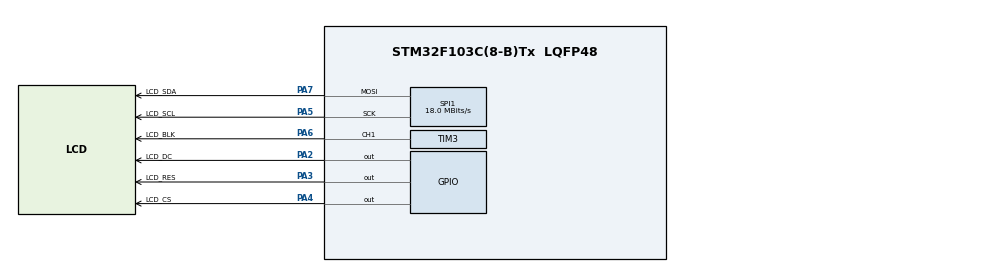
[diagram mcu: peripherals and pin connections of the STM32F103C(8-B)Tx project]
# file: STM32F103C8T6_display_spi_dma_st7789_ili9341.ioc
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Dma.Request0=SPI1_TX
Dma.SPI1_TX.0.Direction=DMA_MEMORY_TO_PERIPH
Dma.SPI1_TX.0.Instance=DMA1_Channel3
Dma.SPI1_TX.0.MemDataAlignment=DMA_MDATAALIGN_HALFWORD
Dma.SPI1_TX.0.MemInc=DMA_MINC_ENABLE
Dma.SPI1_TX.0.Mode=DMA_NORMAL
Dma.SPI1_TX.0.PeriphDataAlignment=DMA_PDATAALIGN_HALFWORD
Dma.SPI1_TX.0.PeriphInc=DMA_PINC_DISABLE
Dma.SPI1_TX.0.Priority=DMA_PRIORITY_LOW
Mcu.Family=STM32F1
Mcu.Name=STM32F103C(8-B)Tx
Mcu.Package=LQFP48
NVIC.DMA1_Channel3_IRQn=true\:0\:0\:false\:false\:true\:false\:true\:true
NVIC.PriorityGroup=NVIC_PRIORITYGROUP_4
PA13.Mode=Serial_Wire
PA13.Signal=SYS_JTMS-SWDIO
PA14.Mode=Serial_Wire
PA14.Signal=SYS_JTCK-SWCLK
PA2.GPIO_Label=LCD_DC
PA2.GPIO_PuPd=GPIO_PULLUP
PA2.GPIO_Speed=GPIO_SPEED_FREQ_HIGH
PA2.Signal=GPIO_Output
PA3.GPIO_Label=LCD_RES
PA3.GPIO_PuPd=GPIO_PULLUP
PA3.GPIO_Speed=GPIO_SPEED_FREQ_HIGH
PA3.Signal=GPIO_Output
PA4.GPIO_Label=LCD_CS
PA4.GPIO_PuPd=GPIO_PULLUP
PA4.GPIO_Speed=GPIO_SPEED_FREQ_HIGH
PA4.Signal=GPIO_Output
PA5.GPIO_Label=LCD_SCL
PA5.Mode=TX_Only_Simplex_Unidirect_Master
PA5.Signal=SPI1_SCK
PA6.GPIO_Label=LCD_BLK
PA6.Signal=S_TIM3_CH1
PA7.GPIO_Label=LCD_SDA
PA7.Mode=TX_Only_Simplex_Unidirect_Master
PA7.Signal=SPI1_MOSI
PD0-OSC_IN.Mode=HSE-External-Oscillator
PD0-OSC_IN.Signal=RCC_OSC_IN
PD1-OSC_OUT.Mode=HSE-External-Oscillator
PD1-OSC_OUT.Signal=RCC_OSC_OUT
ProjectManager.HeapSize=0x200
ProjectManager.StackSize=0x400
ProjectManager.TargetToolchain=STM32CubeIDE
RCC.AHBFreq_Value=72000000
RCC.APB1CLKDivider=RCC_HCLK_DIV2
RCC.APB1Freq_Value=36000000
RCC.APB1TimFreq_Value=72000000
RCC.APB2Freq_Value=72000000
RCC.APB2TimFreq_Value=72000000
RCC.HCLKFreq_Value=72000000
RCC.PLLMUL=RCC_PLL_MUL9
RCC.PLLSourceVirtual=RCC_PLLSOURCE_HSE
RCC.SYSCLKFreq_VALUE=72000000
RCC.SYSCLKSource=RCC_SYSCLKSOURCE_PLLCLK
RCC.USBFreq_Value=72000000
SH.S_TIM3_CH1.0=TIM3_CH1,PWM Generation1 CH1
SPI1.BaudRatePrescaler=SPI_BAUDRATEPRESCALER_4
SPI1.CLKPolarity=SPI_POLARITY_HIGH
SPI1.CalculateBaudRate=18.0 MBits/s
SPI1.Direction=SPI_DIRECTION_2LINES
SPI1.Mode=SPI_MODE_MASTER
SPI1.VirtualType=VM_MASTER
TIM3.Channel-PWM\ Generation1\ CH1=TIM_CHANNEL_1
TIM3.Period=17
TIM3.Prescaler=9999
TIM3.Pulse-PWM\ Generation1\ CH1=9
board=custom

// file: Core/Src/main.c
/* USER CODE BEGIN Header */
/*  Copyright (C)2019-2023, VadRov, all right reserved.
 *
 *  Драйвер дисплея V1.4 для stm32f103x
 *  Интерфейс дисплея spi. Поддержка DMA, CS и BLK (PWM)
 *  Поддержка дисплеев контроллерах st7789, ili9341 и совместимых с ними
 *
 *  https://www.youtube.com/@VadRov
 *  https://dzen.ru/vadrov
 *  https://vk.com/vadrov
 *  https://t.me/vadrov_channel
 */
/* USER CODE END Header */
#include "main.h"

/* USER CODE BEGIN Includes */
#include <stdlib.h>
#include "display.h"
#include "st7789.h"
/* USER CODE END Includes */

/* USER CODE BEGIN PTD */
volatile uint32_t millis = 0;
/* USER CODE END PTD */

void SystemClock_Config(void);
static void MX_GPIO_Init(void);
static void MX_DMA_Init(void);
static void MX_SPI1_Init(void);
static void MX_TIM3_Init(void);

int main(void)
{

  /* MCU Configuration--------------------------------------------------------*/

  /* Reset of all peripherals, Initializes the Flash interface and the Systick. */
  LL_APB2_GRP1_EnableClock(LL_APB2_GRP1_PERIPH_AFIO);
  LL_APB1_GRP1_EnableClock(LL_APB1_GRP1_PERIPH_PWR);

  /* System interrupt init*/
  NVIC_SetPriorityGrouping(NVIC_PRIORITYGROUP_4);

  /* SysTick_IRQn interrupt configuration */
  NVIC_SetPriority(SysTick_IRQn, NVIC_EncodePriority(NVIC_GetPriorityGrouping(),15, 0));

  /** NOJTAG: JTAG-DP Disabled and SW-DP Enabled
  */
  LL_GPIO_AF_Remap_SWJ_NOJTAG();

  /* Configure the system clock */
  SystemClock_Config();

  /* USER CODE BEGIN SysInit */
  //настраиваем системный таймер (прерывания 1000 раз в секунду)
  SysTick_Config(SystemCoreClock/1000);
  /* USER CODE END SysInit */

  /* Initialize all configured peripherals */
  MX_GPIO_Init();
  MX_DMA_Init();
  MX_SPI1_Init();
  MX_TIM3_Init();
  /* USER CODE BEGIN 2 */
  LCD_DMA_TypeDef dma_tx = { DMA1,
		  	  	  	  	     LL_DMA_CHANNEL_3 - 1 };

  LCD_BackLight_data bkl_data = { TIM3,
  		  	  	  	  	  	  	  LL_TIM_CHANNEL_CH1,
  								  0,
  								  0,
  								  80  };

  LCD_SPI_Connected_data spi_con = { SPI1,
  		  	  	  	  	  	  	  	 dma_tx,
  									 LCD_RES_GPIO_Port,
  									 LCD_RES_Pin,
  									 LCD_DC_GPIO_Port,
  									 LCD_DC_Pin,
  									 LCD_CS_GPIO_Port,
									 LCD_CS_Pin         };

#ifndef LCD_DYNAMIC_MEM
  LCD_Handler lcd1;
#endif

  LCD = LCD_DisplayAdd(	LCD,
#ifndef LCD_DYNAMIC_MEM
		  	  	  	    &lcd1,
#endif
		  	  	  	  	240,
						240,
						ST7789_CONTROLLER_WIDTH,
						ST7789_CONTROLLER_HEIGHT,
						0,
						0,
  						PAGE_ORIENTATION_PORTRAIT,
  						//PAGE_ORIENTATION_LANDSCAPE,
  						ST7789_Init,
  						ST7789_SetWindow,
  						ST7789_SleepIn,
  						ST7789_SleepOut,
  						&spi_con,
  						LCD_DATA_16BIT_BUS,
  						bkl_data );

  LCD_Handler *lcd = LCD; //указатель на первый дисплей в списке

  LCD_Init(lcd);

  LCD_WriteString(lcd, 0, 0, "Hello, world!", &Font_8x13, COLOR_YELLOW, COLOR_BLUE, LCD_SYMBOL_PRINT_FAST);
  LL_mDelay(2000);

  uint32_t tick;
  uint32_t frames;
  char buff[10];
  uint8_t r = 0, g = 0, b = 0;

  /* USER CODE END 2 */

  /* Infinite loop */
  /* USER CODE BEGIN WHILE */
  while (1)
  {
   	  frames = 0;
   	  tick = millis;
   	  while (millis - tick < 1000)
   	  {
   		  LCD_Fill(lcd, (r << 16) | (g << 8) | b);

   		  r++;
   		  g += 2;
   		  b += 4;

   		  /* задержка */
   		  /*
   		  for (uint32_t i = 0; i<100000; i++)
 		  {
 			  __NOP();
 		  }
   		  */
   		  frames++;
   	  }
   	  utoa(frames, buff, 10);
   	  LCD_WriteString(lcd, 0, 0, buff, &Font_8x13, COLOR_YELLOW, COLOR_BLUE, LCD_SYMBOL_PRINT_FAST);
   	  LL_mDelay(1000);
    /* USER CODE END WHILE */
  }
}

void SystemClock_Config(void)
{
  LL_FLASH_SetLatency(LL_FLASH_LATENCY_2);
  while(LL_FLASH_GetLatency()!= LL_FLASH_LATENCY_2)
  {
  }
  LL_RCC_HSE_Enable();

   /* Wait till HSE is ready */
  while(LL_RCC_HSE_IsReady() != 1)
  {

  }
  LL_RCC_PLL_ConfigDomain_SYS(LL_RCC_PLLSOURCE_HSE_DIV_1, LL_RCC_PLL_MUL_9);
  LL_RCC_PLL_Enable();

   /* Wait till PLL is ready */
  while(LL_RCC_PLL_IsReady() != 1)
  {

  }
  LL_RCC_SetAHBPrescaler(LL_RCC_SYSCLK_DIV_1);
  LL_RCC_SetAPB1Prescaler(LL_RCC_APB1_DIV_2);
  LL_RCC_SetAPB2Prescaler(LL_RCC_APB2_DIV_1);
  LL_RCC_SetSysClkSource(LL_RCC_SYS_CLKSOURCE_PLL);

   /* Wait till System clock is ready */
  while(LL_RCC_GetSysClkSource() != LL_RCC_SYS_CLKSOURCE_STATUS_PLL)
  {

  }
  LL_Init1msTick(72000000);
  LL_SetSystemCoreClock(72000000);
}

static void MX_SPI1_Init(void)
{

  LL_SPI_InitTypeDef SPI_InitStruct = {0};

  LL_GPIO_InitTypeDef GPIO_InitStruct = {0};

  /* Peripheral clock enable */
  LL_APB2_GRP1_EnableClock(LL_APB2_GRP1_PERIPH_SPI1);

  LL_APB2_GRP1_EnableClock(LL_APB2_GRP1_PERIPH_GPIOA);
  /**SPI1 GPIO Configuration
  PA5   ------> SPI1_SCK
  PA7   ------> SPI1_MOSI
  */
  GPIO_InitStruct.Pin = LCD_SCL_Pin|LCD_SDA_Pin;
  GPIO_InitStruct.Mode = LL_GPIO_MODE_ALTERNATE;
  GPIO_InitStruct.Speed = LL_GPIO_SPEED_FREQ_HIGH;
  GPIO_InitStruct.OutputType = LL_GPIO_OUTPUT_PUSHPULL;
  LL_GPIO_Init(GPIOA, &GPIO_InitStruct);

  /* SPI1 DMA Init */

  /* SPI1_TX Init */
  LL_DMA_SetDataTransferDirection(DMA1, LL_DMA_CHANNEL_3, LL_DMA_DIRECTION_MEMORY_TO_PERIPH);

  LL_DMA_SetChannelPriorityLevel(DMA1, LL_DMA_CHANNEL_3, LL_DMA_PRIORITY_LOW);

  LL_DMA_SetMode(DMA1, LL_DMA_CHANNEL_3, LL_DMA_MODE_NORMAL);

  LL_DMA_SetPeriphIncMode(DMA1, LL_DMA_CHANNEL_3, LL_DMA_PERIPH_NOINCREMENT);

  LL_DMA_SetMemoryIncMode(DMA1, LL_DMA_CHANNEL_3, LL_DMA_MEMORY_INCREMENT);

  LL_DMA_SetPeriphSize(DMA1, LL_DMA_CHANNEL_3, LL_DMA_PDATAALIGN_HALFWORD);

  LL_DMA_SetMemorySize(DMA1, LL_DMA_CHANNEL_3, LL_DMA_MDATAALIGN_HALFWORD);

  /* SPI1 parameter configuration*/
  SPI_InitStruct.TransferDirection = LL_SPI_FULL_DUPLEX;
  SPI_InitStruct.Mode = LL_SPI_MODE_MASTER;
  SPI_InitStruct.DataWidth = LL_SPI_DATAWIDTH_8BIT;
  SPI_InitStruct.ClockPolarity = LL_SPI_POLARITY_HIGH;
  SPI_InitStruct.ClockPhase = LL_SPI_PHASE_1EDGE;
  SPI_InitStruct.NSS = LL_SPI_NSS_SOFT;
  SPI_InitStruct.BaudRate = LL_SPI_BAUDRATEPRESCALER_DIV4;
  SPI_InitStruct.BitOrder = LL_SPI_MSB_FIRST;
  SPI_InitStruct.CRCCalculation = LL_SPI_CRCCALCULATION_DISABLE;
  SPI_InitStruct.CRCPoly = 10;
  LL_SPI_Init(SPI1, &SPI_InitStruct);

}

static void MX_TIM3_Init(void)
{

  LL_TIM_InitTypeDef TIM_InitStruct = {0};
  LL_TIM_OC_InitTypeDef TIM_OC_InitStruct = {0};

  LL_GPIO_InitTypeDef GPIO_InitStruct = {0};

  /* Peripheral clock enable */
  LL_APB1_GRP1_EnableClock(LL_APB1_GRP1_PERIPH_TIM3);

  TIM_InitStruct.Prescaler = 9999;
  TIM_InitStruct.CounterMode = LL_TIM_COUNTERMODE_UP;
  TIM_InitStruct.Autoreload = 17;
  TIM_InitStruct.ClockDivision = LL_TIM_CLOCKDIVISION_DIV1;
  LL_TIM_Init(TIM3, &TIM_InitStruct);
  LL_TIM_DisableARRPreload(TIM3);
  LL_TIM_OC_EnablePreload(TIM3, LL_TIM_CHANNEL_CH1);
  TIM_OC_InitStruct.OCMode = LL_TIM_OCMODE_PWM1;
  TIM_OC_InitStruct.OCState = LL_TIM_OCSTATE_DISABLE;
  TIM_OC_InitStruct.OCNState = LL_TIM_OCSTATE_DISABLE;
  TIM_OC_InitStruct.CompareValue = 9;
  TIM_OC_InitStruct.OCPolarity = LL_TIM_OCPOLARITY_HIGH;
  LL_TIM_OC_Init(TIM3, LL_TIM_CHANNEL_CH1, &TIM_OC_InitStruct);
  LL_TIM_OC_DisableFast(TIM3, LL_TIM_CHANNEL_CH1);
  LL_TIM_SetTriggerOutput(TIM3, LL_TIM_TRGO_RESET);
  LL_TIM_DisableMasterSlaveMode(TIM3);
  LL_APB2_GRP1_EnableClock(LL_APB2_GRP1_PERIPH_GPIOA);
  /**TIM3 GPIO Configuration
  PA6   ------> TIM3_CH1
  */
  GPIO_InitStruct.Pin = LCD_BLK_Pin;
  GPIO_InitStruct.Mode = LL_GPIO_MODE_ALTERNATE;
  GPIO_InitStruct.Speed = LL_GPIO_SPEED_FREQ_LOW;
  GPIO_InitStruct.OutputType = LL_GPIO_OUTPUT_PUSHPULL;
  LL_GPIO_Init(LCD_BLK_GPIO_Port, &GPIO_InitStruct);

}

static void MX_DMA_Init(void)
{

  /* Init with LL driver */
  /* DMA controller clock enable */
  LL_AHB1_GRP1_EnableClock(LL_AHB1_GRP1_PERIPH_DMA1);

  /* DMA interrupt init */
  /* DMA1_Channel3_IRQn interrupt configuration */
  NVIC_SetPriority(DMA1_Channel3_IRQn, NVIC_EncodePriority(NVIC_GetPriorityGrouping(),0, 0));
  NVIC_EnableIRQ(DMA1_Channel3_IRQn);

}

static void MX_GPIO_Init(void)
{
  LL_GPIO_InitTypeDef GPIO_InitStruct = {0};

  /* GPIO Ports Clock Enable */
  LL_APB2_GRP1_EnableClock(LL_APB2_GRP1_PERIPH_GPIOD);
  LL_APB2_GRP1_EnableClock(LL_APB2_GRP1_PERIPH_GPIOA);

  /**/
  LL_GPIO_ResetOutputPin(GPIOA, LCD_DC_Pin|LCD_RES_Pin|LCD_CS_Pin);

  /**/
  GPIO_InitStruct.Pin = LCD_DC_Pin|LCD_RES_Pin|LCD_CS_Pin;
  GPIO_InitStruct.Mode = LL_GPIO_MODE_OUTPUT;
  GPIO_InitStruct.Speed = LL_GPIO_SPEED_FREQ_HIGH;
  GPIO_InitStruct.OutputType = LL_GPIO_OUTPUT_PUSHPULL;
  GPIO_InitStruct.Pull = LL_GPIO_PULL_UP;
  LL_GPIO_Init(GPIOA, &GPIO_InitStruct);

}

void Error_Handler(void)
{
  __disable_irq();
  while (1)
  {
  }
}
